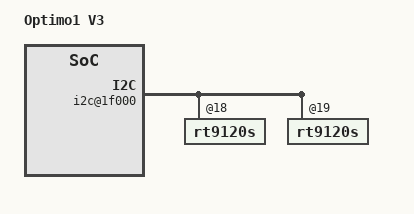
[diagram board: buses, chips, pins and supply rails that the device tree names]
/*
 * Copyright (c) 2021, Sonos, Inc.
 *
 * SPDX-License-Identifier:     GPL-2.0
 *
 * v0	- Optimo1 p1a
 * v1	- Optimo1 p1b
 * v2	- Optimo1 p2a with TI amps
 * v3	- Optimo1 p2a with Richtek amps
 */

/dts-v1/;

#include "optimo_common.dtsi"

/ {
	model = "Optimo1 V3";

        sonos-product-id = <0x01>;

	sonos-platform {
		thermal-mgmt {
			/delete-node/ AMP;
		};
	};

	soc {
		cbus@ffd00000 {
			i2c@1f000 {
				rt9120s@18 {
					status = "okay";
				};
				rt9120s@19 {
					/delete-property/ parallel-play;
					init-sequence-length2 = <15>;
					reg-init2 = < 0x63 0xDE 0x6C 0xC0 0x07 0x36 0x65 0x66 0x06 0x28
						0x02 0x03 0xA0 0x01 0xA1 0x08 0xA2 0x0C 0x27 0x01B0 0x20 0x0180 0x0c 0x38 0x09 0x81 0x6e 0x1d 0x10 0x00>;
					status = "okay";
				};
			};
		};
		aobus@ff800000 {
			i2c@5000 {
				/delete-node/ is31fl3195@54 ;
			};
		};
	};
};

#include "optimo1_psoc_workaround.dtsi"
